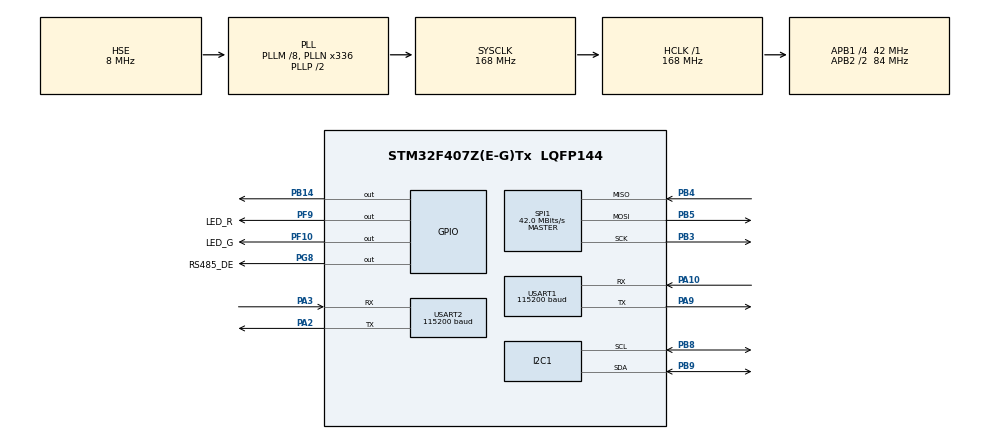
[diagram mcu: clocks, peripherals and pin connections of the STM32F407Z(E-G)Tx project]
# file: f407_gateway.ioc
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Dma.Request0=USART2_RX
Dma.USART2_RX.0.Direction=DMA_PERIPH_TO_MEMORY
Dma.USART2_RX.0.FIFOMode=DMA_FIFOMODE_DISABLE
Dma.USART2_RX.0.Instance=DMA1_Stream5
Dma.USART2_RX.0.MemDataAlignment=DMA_MDATAALIGN_BYTE
Dma.USART2_RX.0.MemInc=DMA_MINC_ENABLE
Dma.USART2_RX.0.Mode=DMA_NORMAL
Dma.USART2_RX.0.PeriphDataAlignment=DMA_PDATAALIGN_BYTE
Dma.USART2_RX.0.PeriphInc=DMA_PINC_DISABLE
Dma.USART2_RX.0.Priority=DMA_PRIORITY_LOW
FREERTOS.Tasks01=taskModbus,16,512,StartTaskModbus,Default,NULL,Dynamic,NULL,NULL;taskReport,16,512,StartTaskReport,Default,NULL,Dynamic,NULL,NULL;taskLed,8,128,StartTaskLed,Default,NULL,Dynamic,NULL,NULL
FREERTOS.configCHECK_FOR_STACK_OVERFLOW=2
FREERTOS.configUSE_NEWLIB_REENTRANT=0
Mcu.Family=STM32F4
Mcu.Name=STM32F407Z(E-G)Tx
Mcu.Package=LQFP144
NVIC.DMA1_Stream5_IRQn=true\:5\:0\:false\:false\:true\:true\:false\:true\:true
NVIC.PriorityGroup=NVIC_PRIORITYGROUP_4
NVIC.TIM6_DAC_IRQn=true\:15\:0\:false\:false\:true\:false\:false\:true\:true
NVIC.TimeBase=TIM6_DAC_IRQn
NVIC.TimeBaseIP=TIM6
NVIC.USART2_IRQn=true\:5\:0\:false\:false\:true\:true\:true\:true\:true
PA10.Mode=Asynchronous
PA10.Signal=USART1_RX
PA13.Mode=Serial_Wire
PA13.Signal=SYS_JTMS-SWDIO
PA14.Mode=Serial_Wire
PA14.Signal=SYS_JTCK-SWCLK
PA2.Mode=Asynchronous
PA2.Signal=USART2_TX
PA3.Mode=Asynchronous
PA3.Signal=USART2_RX
PA9.Mode=Asynchronous
PA9.Signal=USART1_TX
PB14.Signal=GPIO_Output
PB3.Mode=Full_Duplex_Master
PB3.Signal=SPI1_SCK
PB4.Mode=Full_Duplex_Master
PB4.Signal=SPI1_MISO
PB5.Mode=Full_Duplex_Master
PB5.Signal=SPI1_MOSI
PB8.Mode=I2C
PB8.Signal=I2C1_SCL
PB9.Mode=I2C
PB9.Signal=I2C1_SDA
PF10.GPIO_Label=LED_G
PF10.Signal=GPIO_Output
PF9.GPIO_Label=LED_R
PF9.PinState=GPIO_PIN_SET
PF9.Signal=GPIO_Output
PG8.GPIO_Label=RS485_DE
PG8.Signal=GPIO_Output
PH0-OSC_IN.Mode=HSE-External-Oscillator
PH0-OSC_IN.Signal=RCC_OSC_IN
PH1-OSC_OUT.Mode=HSE-External-Oscillator
PH1-OSC_OUT.Signal=RCC_OSC_OUT
ProjectManager.HeapSize=0x200
ProjectManager.StackSize=0x400
ProjectManager.TargetToolchain=MDK-ARM V5.32
RCC.48MHZClocksFreq_Value=84000000
RCC.AHBFreq_Value=168000000
RCC.APB1CLKDivider=RCC_HCLK_DIV4
RCC.APB1Freq_Value=42000000
RCC.APB1TimFreq_Value=84000000
RCC.APB2CLKDivider=RCC_HCLK_DIV2
RCC.APB2Freq_Value=84000000
RCC.APB2TimFreq_Value=168000000
RCC.CortexFreq_Value=168000000
RCC.HCLKFreq_Value=168000000
RCC.HSE_VALUE=8000000
RCC.HSI_VALUE=16000000
RCC.LSE_VALUE=32768
RCC.PLLM=8
RCC.PLLN=336
RCC.PLLSourceVirtual=RCC_PLLSOURCE_HSE
RCC.SYSCLKFreq_VALUE=168000000
RCC.SYSCLKSource=RCC_SYSCLKSOURCE_PLLCLK
RCC.VCOOutputFreq_Value=336000000
SPI1.CalculateBaudRate=42.0 MBits/s
SPI1.Direction=SPI_DIRECTION_2LINES
SPI1.Mode=SPI_MODE_MASTER
SPI1.VirtualType=VM_MASTER
TIM2.Period=0xFFFFFFFF
TIM2.Prescaler=83
USART1.BaudRate=115200
USART1.VirtualMode=VM_ASYNC
USART2.BaudRate=115200
USART2.VirtualMode=VM_ASYNC
VP_FREERTOS_VS_CMSIS_V2.Mode=CMSIS_V2
VP_SYS_VS_tim6.Mode=TIM6
VP_TIM2_VS_ClockSourceINT.Mode=Internal
board=custom

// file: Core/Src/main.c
/* USER CODE BEGIN Header */
/**
  ******************************************************************************
  * @file           : main.c
  * @brief          : Main program body
  ******************************************************************************
  * @attention
  *
  * Copyright (c) 2026 STMicroelectronics.
  * All rights reserved.
  *
  * This software is licensed under terms that can be found in the LICENSE file
  * in the root directory of this software component.
  * If no LICENSE file comes with this software, it is provided AS-IS.
  *
  ******************************************************************************
  */
/* USER CODE END Header */
#include "main.h"
#include "cmsis_os.h"
#include "dma.h"
#include "i2c.h"
#include "spi.h"
#include "tim.h"
#include "usart.h"
#include "gpio.h"

/* USER CODE BEGIN Includes */
#include "mb_master.h"
#include "mb_port_f4.h"
#include <stdarg.h>
#include <stdio.h>
/* USER CODE END Includes */

void SystemClock_Config(void);
void MX_FREERTOS_Init(void);

int main(void)
{

  /* MCU Configuration--------------------------------------------------------*/

  /* Reset of all peripherals, Initializes the Flash interface and the Systick. */
  HAL_Init();

  /* Configure the system clock */
  SystemClock_Config();

  /* Initialize all configured peripherals */
  MX_GPIO_Init();
  MX_DMA_Init();
  MX_I2C1_Init();
  MX_SPI1_Init();
  MX_USART1_UART_Init();
  MX_USART2_UART_Init();
  MX_TIM2_Init();
  /* USER CODE BEGIN 2 */
  mb_port_init();
  /* USER CODE END 2 */

  /* Init scheduler */
  osKernelInitialize();  /* Call init function for freertos objects (in cmsis_os2.c) */
  MX_FREERTOS_Init();

  /* Start scheduler */
  osKernelStart();

  /* We should never get here as control is now taken by the scheduler */

  /* Infinite loop */
  while (1)
  {

  }
}

void SystemClock_Config(void)
{
  RCC_OscInitTypeDef RCC_OscInitStruct = {0};
  RCC_ClkInitTypeDef RCC_ClkInitStruct = {0};

  /** Configure the main internal regulator output voltage
  */
  __HAL_RCC_PWR_CLK_ENABLE();
  __HAL_PWR_VOLTAGESCALING_CONFIG(PWR_REGULATOR_VOLTAGE_SCALE1);

  /** Initializes the RCC Oscillators according to the specified parameters
  * in the RCC_OscInitTypeDef structure.
  */
  RCC_OscInitStruct.OscillatorType = RCC_OSCILLATORTYPE_HSE;
  RCC_OscInitStruct.HSEState = RCC_HSE_ON;
  RCC_OscInitStruct.PLL.PLLState = RCC_PLL_ON;
  RCC_OscInitStruct.PLL.PLLSource = RCC_PLLSOURCE_HSE;
  RCC_OscInitStruct.PLL.PLLM = 8;
  RCC_OscInitStruct.PLL.PLLN = 336;
  RCC_OscInitStruct.PLL.PLLP = RCC_PLLP_DIV2;
  RCC_OscInitStruct.PLL.PLLQ = 4;
  if (HAL_RCC_OscConfig(&RCC_OscInitStruct) != HAL_OK)
  {
    Error_Handler();
  }

  /** Initializes the CPU, AHB and APB buses clocks
  */
  RCC_ClkInitStruct.ClockType = RCC_CLOCKTYPE_HCLK|RCC_CLOCKTYPE_SYSCLK
                              |RCC_CLOCKTYPE_PCLK1|RCC_CLOCKTYPE_PCLK2;
  RCC_ClkInitStruct.SYSCLKSource = RCC_SYSCLKSOURCE_PLLCLK;
  RCC_ClkInitStruct.AHBCLKDivider = RCC_SYSCLK_DIV1;
  RCC_ClkInitStruct.APB1CLKDivider = RCC_HCLK_DIV4;
  RCC_ClkInitStruct.APB2CLKDivider = RCC_HCLK_DIV2;

  if (HAL_RCC_ClockConfig(&RCC_ClkInitStruct, FLASH_LATENCY_5) != HAL_OK)
  {
    Error_Handler();
  }
}

void HAL_TIM_PeriodElapsedCallback(TIM_HandleTypeDef *htim)
{
  if (htim->Instance == TIM6)
  {
    HAL_IncTick();
  }
}

void Error_Handler(void)
{
  __disable_irq();
  while (1)
  {
  }
}

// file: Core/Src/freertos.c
/* USER CODE BEGIN Header */
/**
  ******************************************************************************
  * File Name          : freertos.c
  * Description        : Code for freertos applications
  ******************************************************************************
  * @attention
  *
  * Copyright (c) 2026 STMicroelectronics.
  * All rights reserved.
  *
  * This software is licensed under terms that can be found in the LICENSE file
  * in the root directory of this software component.
  * If no LICENSE file comes with this software, it is provided AS-IS.
  *
  ******************************************************************************
  */
/* USER CODE END Header */

#include "FreeRTOS.h"
#include "task.h"
#include "main.h"
#include "cmsis_os.h"

/* USER CODE BEGIN Includes */
#include "mb_master.h"
#include "mb_port_f4.h"
#include <stdarg.h>
#include <stdio.h>
#include <string.h>
#include "dwt_us.h"
#include "tim.h"
/* USER CODE END Includes */

/* USER CODE BEGIN PTD */
extern UART_HandleTypeDef huart1;
/* USER CODE END PTD */

/* USER CODE BEGIN Variables */

typedef struct {
    uint8_t  step_index;       /* 状态机当前步骤 */
    uint8_t  slave_id;         /* 从站地址 */
    uint16_t start_reg_addr;   /* 本次访问的起始寄存器地址 */
    mb_m_err_t error;          /* MB_M_OK / MB_M_EXCEPTION / MB_M_TIMEOUT ... */
    uint8_t  exception_code;   /* 从站异常码，仅 error == MB_M_EXCEPTION 时有效 */
    uint32_t elapsed_us;       /* 本步耗时，单位 ms */

    uint8_t  tx_len;
    uint8_t  rx_len;
    uint8_t  tx_buf[8];        /* 发送帧缓冲 */
    uint8_t  rx_buf[16];       /* 接收帧缓冲 */

    uint16_t reg_count;        /* 解析出的寄存器个数 */
    uint16_t reg_values[8];    /* 解析出的寄存器值 */
} mb_m_transaction_t;

static osMessageQueueId_t s_q_sample = NULL;
static uint32_t s_dropped = 0;	/* 队列满被丢掉的条数 */

/* 极简串口打印：stdarg + vsnprintf + HAL_UART_Transmit
 * 不走 printf/semihosting，避免没勾 MicroLIB 时卡死。
 * 调试口 = huart1（USART1）。
 */

 static void uprintf(const char *fmt,...)
 {
	 char buf[128];
	 va_list ap;
	 int n;
	 va_start(ap, fmt);
     n = vsnprintf(buf, sizeof(buf), fmt, ap);
     va_end(ap);

     if (n > 0) {
        if (n > (int)sizeof(buf)) {
            n = (int)sizeof(buf);   /* 截断时 vsnprintf 返回"想写的长度"，clamp 一下 */
        }
        HAL_UART_Transmit(&huart1, (uint8_t *)buf, (uint16_t)n, 100);
    }
 }

/* 绕过 vsnprintf 的裸打印，专给 run-time stats 用（输出 200+ 字节） */
static void uprintf_raw(const char *s)
{
   HAL_UART_Transmit(&huart1,(uint8_t *)s,(uint16_t)strlen(s),100);
}
/* USER CODE END Variables */
/* Definitions for taskModbus */
osThreadId_t taskModbusHandle;
const osThreadAttr_t taskModbus_attributes = {
  .name = "taskModbus",
  .stack_size = 512 * 4,
  .priority = (osPriority_t) osPriorityBelowNormal,
};
/* Definitions for taskReport */
osThreadId_t taskReportHandle;
const osThreadAttr_t taskReport_attributes = {
  .name = "taskReport",
  .stack_size = 512 * 4,
  .priority = (osPriority_t) osPriorityBelowNormal,
};
/* Definitions for taskLed */
osThreadId_t taskLedHandle;
const osThreadAttr_t taskLed_attributes = {
  .name = "taskLed",
  .stack_size = 128 * 4,
  .priority = (osPriority_t) osPriorityLow,
};

void StartTaskModbus(void *argument);
void StartTaskReport(void *argument);
void StartTaskLed(void *argument);

void MX_FREERTOS_Init(void); /* (MISRA C 2004 rule 8.1) */

/* Hook prototypes */
void vApplicationStackOverflowHook(xTaskHandle xTask, signed char *pcTaskName);

/* USER CODE BEGIN 4 */
void vApplicationStackOverflowHook(xTaskHandle xTask, signed char *pcTaskName)
{
   /* Run time stack overflow checking is performed if
   configCHECK_FOR_STACK_OVERFLOW is defined to 1 or 2. This hook function is
   called if a stack overflow is detected. */
	(void)xTask;
	(void)pcTaskName;

	taskDISABLE_INTERRUPTS();
	HAL_GPIO_WritePin(GPIOF,GPIO_PIN_9,GPIO_PIN_RESET);
	while(1)
	{}
}
void vConfigureTimerForRunTimeStats(void)
{
   __HAL_TIM_SET_COUNTER(&htim2, 0);
    HAL_TIM_Base_Start(&htim2);
}
uint32_t ulGetRunTimeCounterValue(void)
{
  return __HAL_TIM_GET_COUNTER(&htim2);
}
/* USER CODE END 4 */

void MX_FREERTOS_Init(void) {
  /* USER CODE BEGIN Init */
  dwt_init();   //初始化 DWT 周期计数器
	s_q_sample = osMessageQueueNew(8U, sizeof(mb_m_transaction_t), NULL);  // 创建一个消息队列，最多存放 8 条 mb_sample_t 类型的消息
  if(s_q_sample == NULL)
  {
    uprintf("任务队列创建失败....\r\n");
    HAL_GPIO_WritePin(GPIOF,GPIO_PIN_9,GPIO_PIN_RESET);
    while(1)
    {}
  }
  else
  uprintf("任务队列创建成功\r\n");
  /* USER CODE END Init */

  /* Create the thread(s) */
  /* creation of taskModbus */
  taskModbusHandle = osThreadNew(StartTaskModbus, NULL, &taskModbus_attributes);

  /* creation of taskReport */
  taskReportHandle = osThreadNew(StartTaskReport, NULL, &taskReport_attributes);

  /* creation of taskLed */
  taskLedHandle = osThreadNew(StartTaskLed, NULL, &taskLed_attributes);

}

void StartTaskModbus(void *argument)
{
  /* USER CODE BEGIN StartTaskModbus */
  /* Infinite loop */
  (void)argument; // 避免编译器警告：未使用的参数
  uint8_t step = 0;
  while(1)
  {
    mb_m_transaction_t s;
    uint16_t req_len = 0;
    uint16_t rsp_len = 0;
    uint16_t out_n = 0;
    uint16_t out[8];
    uint8_t exc = 0;
    mb_m_err_t e;
    uint32_t us = 0;

    memset(&s, 0, sizeof(s));   //
    s.step_index = (uint8_t)step;

    /* 组帧 */
    switch(step)
    {
      case 0:
        s.slave_id = 0x01;
        s.start_reg_addr = 0;
        req_len =  mb_master_build_read(s.tx_buf, sizeof(s.tx_buf),
                            s.slave_id, s.start_reg_addr, 2);
        break;

      case 1:
        s.slave_id = 0x01;
        s.start_reg_addr = 4;
        req_len = mb_master_build_write_single(s.tx_buf,sizeof(s.tx_buf),
                                          s.slave_id,s.start_reg_addr,0x037F);
        break;

      case 2:
        s.slave_id = 0x01;
        s.start_reg_addr = 4;
        req_len = mb_master_build_read(s.tx_buf,sizeof(s.tx_buf),
                                  s.slave_id,s.start_reg_addr,1);
        break;

      case 3:
        s.slave_id = 0x01;
        s.start_reg_addr = 200;
        req_len = mb_master_build_read(s.tx_buf,sizeof(s.tx_buf),
                                  s.slave_id,s.start_reg_addr,1);
        break;

      case 4:
        s.slave_id = 0x02;
        s.start_reg_addr = 0;
        req_len = mb_master_build_read(s.tx_buf,sizeof(s.tx_buf),
                                  s.slave_id,s.start_reg_addr,1);
        break;

      default:
        step = 0;
        continue;
    }
    s.tx_len = (uint8_t)req_len;

    /* 收发+计时*/
    us = dwt_us();
    e = mb_port_transfer(s.tx_buf,s.tx_len,s.rx_buf,sizeof(s.rx_buf),&rsp_len,200);
    s.elapsed_us = dwt_elapsed_us(us);
    if(e == MB_M_OK || e == MB_M_EXCEPTION)
    s.rx_len = (uint8_t)rsp_len;
    else
    s.rx_len = 0;

    /* 解析 */
    if(e == MB_M_OK)
    {
      e = mb_master_parse(s.tx_buf,s.tx_len,
      s.rx_buf,s.rx_len,out,sizeof(out)/sizeof(out[0]),&out_n,&exc);
      if(e == MB_M_OK)
      {
        for(uint16_t i = 0; i < out_n; i++)
        {
          s.reg_values[i] = out[i];
        }
        s.reg_count = out_n;
      }
      s.exception_code = exc;
    }
    s.error = e;

    /* ---- 入队 ---- */
    if(s_q_sample != NULL)
    {
      if(osMessageQueuePut(s_q_sample,&s,0U,0U) != osOK)
      s_dropped++;
    }
    step = (uint8_t)((step + 1u) % 5u);
    osDelay(500);
  }
  /* USER CODE END StartTaskModbus */
}

void StartTaskReport(void *argument)
{
  /* USER CODE BEGIN StartTaskReport */
  (void)argument;
  mb_m_transaction_t s;
  static uint32_t s_report_conut = 0;
  static char s_stats_buf[512];
  /* Infinite loop */
  while(1)
  {
    if(s_q_sample == NULL)
    {
      osDelay(100);
      continue;
    }
    if(osMessageQueueGet(s_q_sample,&s,NULL,osWaitForever) != osOK)
    {
      continue;
    }
    s_report_conut++;
    if((s_report_conut % 20U) == 0U)
    {
      uprintf("[STAT] stack hwm (words): modbus=%lu report=%lu led=%lu\r\n",
                (unsigned long)uxTaskGetStackHighWaterMark(taskModbusHandle),
                (unsigned long)uxTaskGetStackHighWaterMark(taskReportHandle),
                (unsigned long)uxTaskGetStackHighWaterMark(taskLedHandle));
    }

    if((s_report_conut % 20U) == 0U)
    {
      vTaskGetRunTimeStats(s_stats_buf);
      uprintf_raw(s_stats_buf);
      uprintf_raw("\r\n");
    }

    switch (s.step_index) {
        case 0:
            uprintf("[RPT][S0] read  slave=%02X start=%u qty=2\r\n",
                    (unsigned)s.slave_id, (unsigned)s.start_reg_addr);
            break;
        case 1:
            uprintf("[RPT][S1] write slave=%02X reg[%u]=0x037F\r\n",
                    (unsigned)s.slave_id, (unsigned)s.start_reg_addr);
            break;
        case 2:
            uprintf("[RPT][S2] read  slave=%02X start=%u qty=1\r\n",
                    (unsigned)s.slave_id, (unsigned)s.start_reg_addr);
            break;
        case 3:
            uprintf("[RPT][S3] read  slave=%02X start=%u qty=1 (expect exception)\r\n",
                    (unsigned)s.slave_id, (unsigned)s.start_reg_addr);
            break;
        case 4:
            uprintf("[RPT][S4] read  slave=%02X start=%u qty=1 (expect timeout)\r\n",
                    (unsigned)s.slave_id, (unsigned)s.start_reg_addr);
            break;
        default:
            uprintf("[RPT][S?] unknown step\r\n");
            break;
        }
        /* ---- TX 回显 ---- */
        uprintf("[RPT][S%u] TX:", (unsigned)s.step_index);
        for(uint16_t i = 0; i < s.tx_len; i++)
        {
          uprintf(" %02X", s.tx_buf[i]);
        }
        uprintf("\r\n");
        /* 按 s.err 分三种情况打印 */
        if (s.error == MB_M_OK) {
            uprintf("[RPT][S%u] RX:", (unsigned)s.step_index);
            for (uint8_t i = 0; i < s.rx_len; i++) {
                uprintf(" %02X", s.rx_buf[i]);
            }
            uprintf("\r\n");

            uprintf("[RPT][S%u] OK  %luus",
                    (unsigned)s.step_index, (unsigned long)s.elapsed_us);
            for (uint16_t i = 0; i < s.reg_count; i++) {
                uprintf(" reg[%u]=%u", (unsigned)i, (unsigned)s.reg_values[i]);
            }
            uprintf("\r\n");
        }
        else if (s.error == MB_M_EXCEPTION) {
            uprintf("[RPT][S%u] RX:", (unsigned)s.step_index);
            for (uint8_t i = 0; i < s.rx_len; i++) {
                uprintf(" %02X", s.rx_buf[i]);
            }
            uprintf("\r\n");

            uprintf("[RPT][S%u] EXC %luus slave exception: 0x%02X\r\n",
                    (unsigned)s.step_index, (unsigned long)s.elapsed_us, (unsigned)s.exception_code);
        }
        else {
            /* 超时/CRC 等：不打 RX 字节，避免垃圾。 */
            /* mb_m_err_str 若不存在，改成 (int)s.err 或你自己的错误字符串函数 */
            uprintf("[RPT][S%u] %s %luus\r\n",
                    (unsigned)s.step_index, mb_m_err_str(s.error), (unsigned long)s.elapsed_us);
        }

        /* TODO-7：留一行注释占位 */
        /* CP2: MQTT publish 就写在这里 —— 采集侧一个字都不用改 */
  }
  /* USER CODE END StartTaskReport */
}

void StartTaskLed(void *argument)
{
  /* USER CODE BEGIN StartTaskLed */
  (void)argument;
  /* Infinite loop */
  for(;;)
  {
    HAL_GPIO_TogglePin(GPIOF, GPIO_PIN_10);
    osDelay(500);
  }
  /* USER CODE END StartTaskLed */
}
